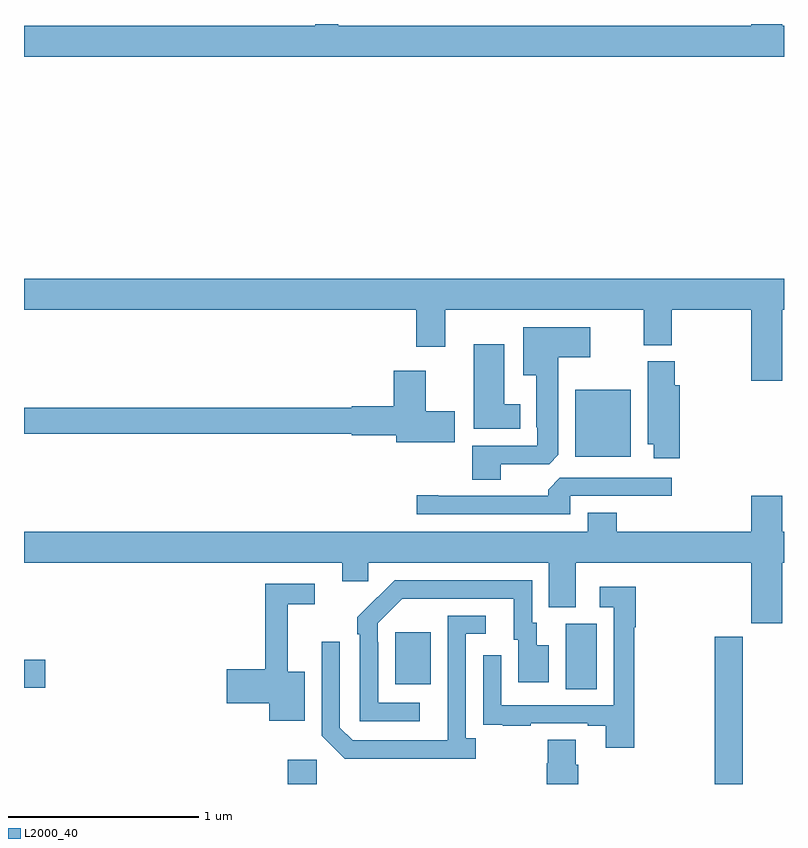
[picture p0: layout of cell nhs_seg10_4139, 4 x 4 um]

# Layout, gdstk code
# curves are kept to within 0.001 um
import gdstk
lib = gdstk.Library(unit=1e-6, precision=1e-09)
def R(c, l, rs):  # rectangles x0, y0, x1, y1
    for r in rs: c.add(gdstk.rectangle(r[:2], r[2:], *l))
def P(c, l, *ps):  # polygons
    for p in ps: c.add(gdstk.Polygon(p, *l))
L2000_40 = (2000, 40)

nhs_seg10_4139 = lib.new_cell('nhs_seg10_4139')
R(nhs_seg10_4139, L2000_40, [(342.389,1284.5,342.54,1284.628), (344.635,1284.5,344.782,1285.275), (343.85,1285,344.014,1285.344), (341,1285.007,341.113,1285.154), (342.953,1285.025,343.141,1285.3), (343.901,1286.222,344.194,1286.575)])
P(nhs_seg10_4139, L2000_40, [(345,1288.492),(344.992,1288.492),(344.992,1288.5),(344.828,1288.5),(344.828,1288.492),(342.655,1288.492),(342.655,1288.5),(342.534,1288.5),(342.534,1288.492),(341,1288.492),(341,1288.328),(345,1288.328)],
  [(344.992,1286.996),(345,1286.996),(345,1287.16),(341,1287.16),(341,1286.996),(343.064,1286.996),(343.064,1286.802),(343.216,1286.802),(343.216,1286.996),(344.261,1286.996),(344.261,1286.809),(344.409,1286.809),(344.409,1286.996),(344.828,1286.996),(344.828,1286.622),(344.992,1286.622)],
  [(343.51,1286.184),(343.764,1286.184),(343.813,1286.233),(343.813,1286.747),(343.981,1286.747),(343.981,1286.905),(343.628,1286.905),(343.628,1286.651),(343.697,1286.651),(343.697,1286.377),(343.701,1286.377),(343.701,1286.28),(343.358,1286.28),(343.358,1286.101),(343.51,1286.101)],
  [(343.612,1286.5),(343.528,1286.5),(343.528,1286.815),(343.367,1286.815),(343.367,1286.369),(343.612,1286.369)],
  [(344.45,1286.598),(344.424,1286.598),(344.424,1286.724),(344.282,1286.724),(344.282,1286.288),(344.315,1286.288),(344.315,1286.214),(344.45,1286.214)],
  [(343.267,1286.463),(343.114,1286.463),(343.114,1286.674),(342.947,1286.674),(342.947,1286.488),(342.726,1286.488),(342.726,1286.48),(341,1286.48),(341,1286.344),(342.726,1286.344),(342.726,1286.336),(342.959,1286.336),(342.959,1286.3),(343.267,1286.3)],
  [(343.875,1286.016),(344.41,1286.016),(344.41,1286.112),(343.821,1286.112),(343.76,1286.05),(343.76,1286.016),(343.18,1286.016),(343.18,1286.021),(343.068,1286.021),(343.068,1285.92),(343.875,1285.92)],
  [(344.992,1285.664),(345,1285.664),(345,1285.828),(344.992,1285.828),(344.992,1286.017),(344.828,1286.017),(344.828,1285.828),(344.12,1285.828),(344.12,1285.927),(343.967,1285.927),(343.967,1285.828),(341,1285.828),(341,1285.664),(342.674,1285.664),(342.674,1285.566),(342.813,1285.566),(342.813,1285.664),(343.763,1285.664),(343.763,1285.429),(343.903,1285.429),(343.903,1285.664),(344.828,1285.664),(344.828,1285.347),(344.992,1285.347)],
  [(343.084,1284.927),(342.864,1284.927),(342.864,1285.247),(342.861,1285.247),(342.861,1285.347),(342.99,1285.476),(343.577,1285.476),(343.577,1285.26),(343.601,1285.26),(343.601,1285.035),(343.762,1285.035),(343.762,1285.231),(343.699,1285.231),(343.699,1285.35),(343.674,1285.35),(343.674,1285.572),(342.95,1285.572),(342.753,1285.377),(342.753,1285.289),(342.768,1285.289),(342.768,1284.831),(343.084,1284.831)],
  [(342.478,1285.09),(342.389,1285.09),(342.389,1285.446),(342.529,1285.446),(342.529,1285.554),(342.271,1285.554),(342.271,1285.103),(342.066,1285.103),(342.066,1284.925),(342.29,1284.925),(342.29,1284.833),(342.478,1284.833)],
  [(344.212,1285.324),(344.219,1285.324),(344.219,1285.537),(344.031,1285.537),(344.031,1285.431),(344.103,1285.431),(344.103,1284.915),(343.512,1284.915),(343.512,1285.177),(343.416,1285.177),(343.416,1284.922),(343.417,1284.922),(343.417,1284.813),(343.519,1284.813),(343.519,1284.807),(343.667,1284.807),(343.667,1284.819),(343.967,1284.819),(343.967,1284.807),(344.063,1284.807),(344.063,1284.69),(344.212,1284.69)],
  [(343.378,1284.742),(343.326,1284.742),(343.326,1285.29),(343.429,1285.29),(343.429,1285.386),(343.23,1285.386),(343.229,1284.729),(342.729,1284.729),(342.663,1284.795),(342.663,1285.249),(342.567,1285.249),(342.567,1284.753),(342.688,1284.632),(343.378,1284.632)],
  [(343.916,1284.602),(343.903,1284.602),(343.903,1284.734),(343.756,1284.734),(343.756,1284.609),(343.751,1284.609),(343.751,1284.5),(343.916,1284.5)])

lib.write_gds('nhs_seg10_4139.gds')
